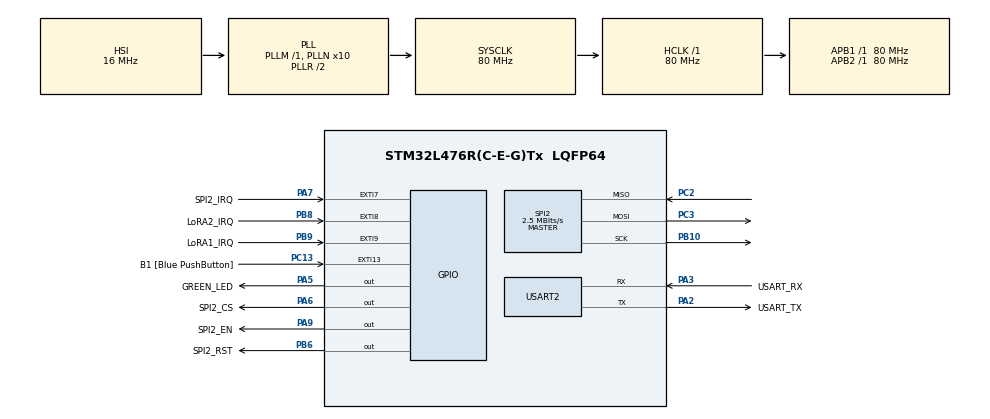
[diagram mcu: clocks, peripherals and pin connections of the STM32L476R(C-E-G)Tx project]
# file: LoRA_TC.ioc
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FREERTOS.BinarySemaphores01=xSem_LORAReceive_start,Dynamic,NULL
FREERTOS.INCLUDE_vTaskDelayUntil=1
FREERTOS.Queues01=LoRA_toSend,4,LoRAtoSendQ_t,0,Dynamic,NULL,NULL;UARTdebug,16,UARTdebugQ_t,0,Dynamic,NULL,NULL;LoRA_inReception,48,LoRAinReceptionQ_t,0,Dynamic,NULL,NULL
FREERTOS.Tasks01=StartInit,3,512,StartInitHandle_TASK,Default,NULL,Dynamic,NULL,NULL;SenderLoRA,0,512,SenderLoRA_TASK,Default,NULL,Dynamic,NULL,NULL;ReceiverLoRA,1,2048,ReceiverLoRA_TASK,Default,NULL,Dynamic,NULL,NULL;Debug,2,256,Debug_TASK,Default,NULL,Dynamic,NULL,NULL
FREERTOS.configGENERATE_RUN_TIME_STATS=1
FREERTOS.configTOTAL_HEAP_SIZE=20000
FREERTOS.configUSE_NEWLIB_REENTRANT=1
FREERTOS.configUSE_STATS_FORMATTING_FUNCTIONS=1
FREERTOS.configUSE_TRACE_FACILITY=1
Mcu.Family=STM32L4
Mcu.Name=STM32L476R(C-E-G)Tx
Mcu.Package=LQFP64
NVIC.EXTI9_5_IRQn=true\:5\:0\:false\:false\:true\:true\:true\:true\:true
NVIC.PriorityGroup=NVIC_PRIORITYGROUP_4
NVIC.TIM1_UP_TIM16_IRQn=true\:15\:0\:false\:false\:true\:false\:false\:true\:true
NVIC.TimeBase=TIM1_UP_TIM16_IRQn
NVIC.TimeBaseIP=TIM1
PA13\ (JTMS-SWDIO).GPIO_Label=TMS
PA13\ (JTMS-SWDIO).Mode=Trace_Asynchronous_SW
PA13\ (JTMS-SWDIO).Signal=SYS_JTMS-SWDIO
PA14\ (JTCK-SWCLK).GPIO_Label=TCK
PA14\ (JTCK-SWCLK).Mode=Trace_Asynchronous_SW
PA14\ (JTCK-SWCLK).Signal=SYS_JTCK-SWCLK
PA2.GPIO_Label=USART_TX
PA2.GPIO_Mode=GPIO_MODE_AF_PP
PA2.GPIO_PuPd=GPIO_NOPULL
PA2.GPIO_Speed=GPIO_SPEED_FREQ_VERY_HIGH
PA2.Mode=Asynchronous
PA2.Signal=USART2_TX
PA3.GPIO_Label=USART_RX
PA3.GPIO_Mode=GPIO_MODE_AF_PP
PA3.GPIO_PuPd=GPIO_NOPULL
PA3.GPIO_Speed=GPIO_SPEED_FREQ_VERY_HIGH
PA3.Mode=Asynchronous
PA3.Signal=USART2_RX
PA5.GPIO_Label=GREEN_LED
PA5.Signal=GPIO_Output
PA6.GPIO_Label=SPI2_CS
PA6.Signal=GPIO_Output
PA7.GPIO_Label=SPI2_IRQ
PA7.GPIO_PuPd=GPIO_PULLDOWN
PA7.Signal=GPXTI7
PA9.GPIO_Label=SPI2_EN
PA9.PinState=GPIO_PIN_SET
PA9.Signal=GPIO_Output
PB10.Mode=Full_Duplex_Master
PB10.Signal=SPI2_SCK
PB3\ (JTDO-TRACESWO).GPIO_Label=SWO
PB3\ (JTDO-TRACESWO).Mode=Trace_Asynchronous_SW
PB3\ (JTDO-TRACESWO).Signal=SYS_JTDO-SWO
PB6.GPIO_Label=SPI2_RST
PB6.Signal=GPIO_Output
PB8.GPIO_Label=LoRA2_IRQ
PB8.GPIO_ModeDefaultEXTI=GPIO_MODE_IT_FALLING
PB8.GPIO_PuPd=GPIO_PULLDOWN
PB8.Signal=GPXTI8
PB9.GPIO_Label=LoRA1_IRQ
PB9.GPIO_ModeDefaultEXTI=GPIO_MODE_IT_FALLING
PB9.GPIO_PuPd=GPIO_PULLDOWN
PB9.Signal=GPXTI9
PC13.GPIO_Label=B1 [Blue PushButton]
PC13.GPIO_ModeDefaultEXTI=GPIO_MODE_IT_FALLING
PC13.GPIO_PuPd=GPIO_NOPULL
PC13.Signal=GPXTI13
PC14-OSC32_IN\ (PC14).Mode=LSE-External-Oscillator
PC14-OSC32_IN\ (PC14).Signal=RCC_OSC32_IN
PC15-OSC32_OUT\ (PC15).Mode=LSE-External-Oscillator
PC15-OSC32_OUT\ (PC15).Signal=RCC_OSC32_OUT
PC2.Mode=Full_Duplex_Master
PC2.Signal=SPI2_MISO
PC3.Mode=Full_Duplex_Master
PC3.Signal=SPI2_MOSI
PH0-OSC_IN\ (PH0).Signal=RCC_OSC_IN
PH1-OSC_OUT\ (PH1).Signal=RCC_OSC_OUT
ProjectManager.HeapSize=0x200
ProjectManager.StackSize=0x400
ProjectManager.TargetToolchain=STM32CubeIDE
RCC.ADCFreq_Value=64000000
RCC.AHBFreq_Value=80000000
RCC.APB1Freq_Value=80000000
RCC.APB1TimFreq_Value=80000000
RCC.APB2Freq_Value=80000000
RCC.APB2TimFreq_Value=80000000
RCC.CortexFreq_Value=80000000
RCC.HCLKFreq_Value=80000000
RCC.HSE_VALUE=8000000
RCC.HSI_VALUE=16000000
RCC.MSI_VALUE=4000000
RCC.PLLN=10
RCC.PLLSourceVirtual=RCC_PLLSOURCE_HSI
RCC.PREFETCH_ENABLE=1
RCC.SYSCLKFreq_VALUE=80000000
RCC.SYSCLKSource=RCC_SYSCLKSOURCE_PLLCLK
RCC.USBFreq_Value=64000000
RCC.VCOOutputFreq_Value=160000000
SPI2.BaudRatePrescaler=SPI_BAUDRATEPRESCALER_32
SPI2.CalculateBaudRate=2.5 MBits/s
SPI2.DataSize=SPI_DATASIZE_8BIT
SPI2.Direction=SPI_DIRECTION_2LINES
SPI2.Mode=SPI_MODE_MASTER
SPI2.VirtualType=VM_MASTER
USART2.VirtualMode-Asynchronous=VM_ASYNC
VP_FREERTOS_VS_CMSIS_V1.Mode=CMSIS_V1
VP_SYS_VS_tim1.Mode=TIM1
board=NUCLEO-L476RG

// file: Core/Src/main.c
/* USER CODE BEGIN Header */
/**
 ******************************************************************************
 * @file           : main.c
 * @brief          : Main program body
 ******************************************************************************
 * @attention
 *
 * Copyright (c) 2024 STMicroelectronics.
 * All rights reserved.
 *
 * This software is licensed under terms that can be found in the LICENSE file
 * in the root directory of this software component.
 * If no LICENSE file comes with this software, it is provided AS-IS.
 *
 ******************************************************************************
 */
/* USER CODE END Header */
#include "main.h"
#include "cmsis_os.h"
#include "spi.h"
#include "usart.h"
#include "gpio.h"

/* USER CODE BEGIN Includes */
#include "RTOS_subfunctions/RTOS_extern.h"
/* USER CODE END Includes */

void SystemClock_Config(void);
void MX_FREERTOS_Init(void);

int main(void)
{

  /* MCU Configuration--------------------------------------------------------*/

  /* Reset of all peripherals, Initializes the Flash interface and the Systick. */
  HAL_Init();

  /* Configure the system clock */
  SystemClock_Config();

  /* Initialize all configured peripherals */
  MX_GPIO_Init();
  MX_USART2_UART_Init();
  MX_SPI2_Init();

  /* Call init function for freertos objects (in cmsis_os2.c) */
  MX_FREERTOS_Init();

  /* Start scheduler */
  osKernelStart();

  /* We should never get here as control is now taken by the scheduler */

  /* Infinite loop */
	while (1)
	{

	}
}

void SystemClock_Config(void)
{
  RCC_OscInitTypeDef RCC_OscInitStruct = {0};
  RCC_ClkInitTypeDef RCC_ClkInitStruct = {0};

  /** Configure the main internal regulator output voltage
  */
  if (HAL_PWREx_ControlVoltageScaling(PWR_REGULATOR_VOLTAGE_SCALE1) != HAL_OK)
  {
    Error_Handler();
  }

  /** Initializes the RCC Oscillators according to the specified parameters
  * in the RCC_OscInitTypeDef structure.
  */
  RCC_OscInitStruct.OscillatorType = RCC_OSCILLATORTYPE_HSI;
  RCC_OscInitStruct.HSIState = RCC_HSI_ON;
  RCC_OscInitStruct.HSICalibrationValue = RCC_HSICALIBRATION_DEFAULT;
  RCC_OscInitStruct.PLL.PLLState = RCC_PLL_ON;
  RCC_OscInitStruct.PLL.PLLSource = RCC_PLLSOURCE_HSI;
  RCC_OscInitStruct.PLL.PLLM = 1;
  RCC_OscInitStruct.PLL.PLLN = 10;
  RCC_OscInitStruct.PLL.PLLP = RCC_PLLP_DIV7;
  RCC_OscInitStruct.PLL.PLLQ = RCC_PLLQ_DIV2;
  RCC_OscInitStruct.PLL.PLLR = RCC_PLLR_DIV2;
  if (HAL_RCC_OscConfig(&RCC_OscInitStruct) != HAL_OK)
  {
    Error_Handler();
  }

  /** Initializes the CPU, AHB and APB buses clocks
  */
  RCC_ClkInitStruct.ClockType = RCC_CLOCKTYPE_HCLK|RCC_CLOCKTYPE_SYSCLK
                              |RCC_CLOCKTYPE_PCLK1|RCC_CLOCKTYPE_PCLK2;
  RCC_ClkInitStruct.SYSCLKSource = RCC_SYSCLKSOURCE_PLLCLK;
  RCC_ClkInitStruct.AHBCLKDivider = RCC_SYSCLK_DIV1;
  RCC_ClkInitStruct.APB1CLKDivider = RCC_HCLK_DIV1;
  RCC_ClkInitStruct.APB2CLKDivider = RCC_HCLK_DIV1;

  if (HAL_RCC_ClockConfig(&RCC_ClkInitStruct, FLASH_LATENCY_4) != HAL_OK)
  {
    Error_Handler();
  }
}

void HAL_TIM_PeriodElapsedCallback(TIM_HandleTypeDef *htim)
{
  if (htim->Instance == TIM1) {
    HAL_IncTick();
  }
}

void Error_Handler(void)
{
  /* USER CODE BEGIN Error_Handler_Debug */
	/* User can add his own implementation to report the HAL error return state */
	__disable_irq();
	logMemoryUsage("ERROR_HANDLER");
	while (1)
	{
	}
  /* USER CODE END Error_Handler_Debug */
}

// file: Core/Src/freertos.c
/* USER CODE BEGIN Header */
/**
 ******************************************************************************
 * File Name          : freertos.c
 * Description        : Code for freertos applications
 ******************************************************************************
 * @attention
 *
 * Copyright (c) 2024 STMicroelectronics.
 * All rights reserved.
 *
 * This software is licensed under terms that can be found in the LICENSE file
 * in the root directory of this software component.
 * If no LICENSE file comes with this software, it is provided AS-IS.
 *
 ******************************************************************************
 */
/* USER CODE END Header */

#include "FreeRTOS.h"
#include "task.h"
#include "main.h"
#include "cmsis_os.h"

/* USER CODE BEGIN Includes */
#include "RTOS_subfunctions/RTOS_extern.h"
#include "RTOS_subfunctions/debug.h"
#include "RTOS_subfunctions/receiverLoRA.h"
#include "RTOS_subfunctions/senderLoRA.h"
#include "GNSS/UBX_NAV.h"
/* USER CODE END Includes */

/* USER CODE BEGIN Variables */
ModuleConfig_t ModuleConfig;
/* USER CODE END Variables */
osThreadId StartInitHandle;
osThreadId SenderLoRAHandle;
osThreadId ReceiverLoRAHandle;
osThreadId DebugHandle;
osMessageQId LoRA_toSendHandle;
osMessageQId UARTdebugHandle;
osMessageQId LoRA_inReceptionHandle;
osSemaphoreId xSem_LORAReceive_startHandle;

void StartInitHandle_TASK(void const * argument);
void SenderLoRA_TASK(void const * argument);
void ReceiverLoRA_TASK(void const * argument);
void Debug_TASK(void const * argument);

void MX_FREERTOS_Init(void); /* (MISRA C 2004 rule 8.1) */

/* GetIdleTaskMemory prototype (linked to static allocation support) */
void vApplicationGetIdleTaskMemory( StaticTask_t **ppxIdleTaskTCBBuffer, StackType_t **ppxIdleTaskStackBuffer, uint32_t *pulIdleTaskStackSize );

/* Hook prototypes */
void configureTimerForRunTimeStats(void);
unsigned long getRunTimeCounterValue(void);

/* USER CODE BEGIN 1 */
/* Functions needed when configGENERATE_RUN_TIME_STATS is on */
__weak void configureTimerForRunTimeStats(void)
{

}

__weak unsigned long getRunTimeCounterValue(void)
{
	return 0;
}
/* USER CODE END 1 */

/* USER CODE BEGIN GET_IDLE_TASK_MEMORY */
static StaticTask_t xIdleTaskTCBBuffer;
static StackType_t xIdleStack[configMINIMAL_STACK_SIZE];

void vApplicationGetIdleTaskMemory( StaticTask_t **ppxIdleTaskTCBBuffer, StackType_t **ppxIdleTaskStackBuffer, uint32_t *pulIdleTaskStackSize )
{
	*ppxIdleTaskTCBBuffer = &xIdleTaskTCBBuffer;
	*ppxIdleTaskStackBuffer = &xIdleStack[0];
	*pulIdleTaskStackSize = configMINIMAL_STACK_SIZE;
	/* place for user code */
}
/* USER CODE END GET_IDLE_TASK_MEMORY */

void MX_FREERTOS_Init(void) {

  /* Create the semaphores(s) */
  /* definition and creation of xSem_LORAReceive_start */
  osSemaphoreDef(xSem_LORAReceive_start);
  xSem_LORAReceive_startHandle = osSemaphoreCreate(osSemaphore(xSem_LORAReceive_start), 1);

  /* Create the queue(s) */
  /* definition and creation of LoRA_toSend */
  osMessageQDef(LoRA_toSend, 4, LoRAtoSendQ_t);
  LoRA_toSendHandle = osMessageCreate(osMessageQ(LoRA_toSend), NULL);

  /* definition and creation of UARTdebug */
  osMessageQDef(UARTdebug, 16, UARTdebugQ_t);
  UARTdebugHandle = osMessageCreate(osMessageQ(UARTdebug), NULL);

  /* definition and creation of LoRA_inReception */
  osMessageQDef(LoRA_inReception, 48, LoRAinReceptionQ_t);
  LoRA_inReceptionHandle = osMessageCreate(osMessageQ(LoRA_inReception), NULL);

  /* Create the thread(s) */
  /* definition and creation of StartInit */
  osThreadDef(StartInit, StartInitHandle_TASK, osPriorityRealtime, 0, 512);
  StartInitHandle = osThreadCreate(osThread(StartInit), NULL);

  /* definition and creation of SenderLoRA */
  osThreadDef(SenderLoRA, SenderLoRA_TASK, osPriorityNormal, 0, 512);
  SenderLoRAHandle = osThreadCreate(osThread(SenderLoRA), NULL);

  /* definition and creation of ReceiverLoRA */
  osThreadDef(ReceiverLoRA, ReceiverLoRA_TASK, osPriorityAboveNormal, 0, 2048);
  ReceiverLoRAHandle = osThreadCreate(osThread(ReceiverLoRA), NULL);

  /* definition and creation of Debug */
  osThreadDef(Debug, Debug_TASK, osPriorityHigh, 0, 256);
  DebugHandle = osThreadCreate(osThread(Debug), NULL);

}

void StartInitHandle_TASK(void const * argument)
{
  /* USER CODE BEGIN StartInitHandle_TASK */
	/* Infinite loop */
	const char startMessage[] = "\r\nStarting...\r\n";
	const char initDoneMessage[] = "\r\nInit Done\r\n\n";

	HAL_UART_Transmit(&huart2, (uint8_t *)startMessage, sizeof(startMessage), 10);

	LORACom_Init(&hspi2,&huart2);
	RFM9x_Init();

	vTaskDelay(1000);

	HAL_UART_Transmit(&huart2, (uint8_t *)initDoneMessage, sizeof(initDoneMessage), 10);

	logMemoryUsage("INITILISATION");
	ModuleConfig = (ModuleConfig_t){
		.doDebugging = true,
		.doLowEnergy = false
	};
	osSignalSet(ReceiverLoRAHandle, 0x01);
	osSignalSet(SenderLoRAHandle, 0x01);
	osStatus event = osThreadTerminate(StartInitHandle);
	if (event != osOK)Error_Handler();
  /* USER CODE END StartInitHandle_TASK */
}

void SenderLoRA_TASK(void const * argument)
{
  /* USER CODE BEGIN SenderLoRA_TASK */
	/* Infinite loop */
    uint32_t notificationValue;
	osEvent eventFromStart = osSignalWait(0x01, osWaitForever);
	if (eventFromStart.status == osEventSignal){
		for(;;)
		{
			/*WAIT FOR A NOTIFY FROM ISR EXTI 8-9 */
			 xTaskNotifyWait(0x00, // Ne pas effacer de bits à l'entrée
			                        0xFFFFFFFF, // Effacer tous les bits à la sortie
			                        &notificationValue, // Stocker la valeur des bits notifiés
			                        portMAX_DELAY); // Attendre indéfiniment

			 /* BUILD OF THE MESSAGE TO SEND VIA LoRA - THIS PART MEANS TO DISSAPEAR FOR A SOFTWARE MESSAGE BUILD */
			logMemoryUsage("START - Lora Sender TASK");

			DynamicBuffer* payloadForPolling =(DynamicBuffer*)initializeBuffer(sizeof(poll_UBX_NAV_SIG));
			LORA_HeaderforSend* headerForPolling = (LORA_HeaderforSend*)pvPortMalloc(sizeof(LORA_HeaderforSend));
			if (headerForPolling == NULL) Error_Handler();
			memcpy(payloadForPolling->buffer, poll_UBX_NAV_SIG, payloadForPolling->size);
			updateMemoryUsage();

			*headerForPolling = (LORA_HeaderforSend){
				.recipient = notificationValue,
						.sender = MODULE_SOURCE_ADDRESS,
						.type = PACKET_TYPE_POLL,
						.len_payload = (uint8_t)payloadForPolling->size
			};

			LoRAtoSendQ_t pollingStatutGNSS = (LoRAtoSendQ_t){
				.header = headerForPolling,
						.payload = payloadForPolling
			};
			xQueueSendToBack(LoRA_toSendHandle,&pollingStatutGNSS,osWaitForever);

			/* THIS PART IS ESSENTIAL */
			senderLoRA();
			/* --------------------- */
			freeBuffer(payloadForPolling);
			vPortFree(headerForPolling);
			logMemoryUsage("END - Lora Sender TASK");
		}
	}
  /* USER CODE END SenderLoRA_TASK */
}

void ReceiverLoRA_TASK(void const * argument)
{
  /* USER CODE BEGIN ReceiverLoRA_TASK */
	/* Infinite loop */
	osEvent eventFromStart = osSignalWait(0x01, osWaitForever);
	if (eventFromStart.status == osEventSignal){
		for(;;)
		{
			/* WAITING FOR THE SEMAPHORE FROM ISR */
			ITM_Port32(31)=1111;
			osSemaphoreWait(xSem_LORAReceive_startHandle, osWaitForever);
			receivedLora();
			ITM_Port32(31)=9999;
		}
	}
  /* USER CODE END ReceiverLoRA_TASK */
}

void Debug_TASK(void const * argument)
{
  /* USER CODE BEGIN Debug_TASK */
	/* Infinite loop */
	for(;;)
	{
		debug();
	}
  /* USER CODE END Debug_TASK */
}
